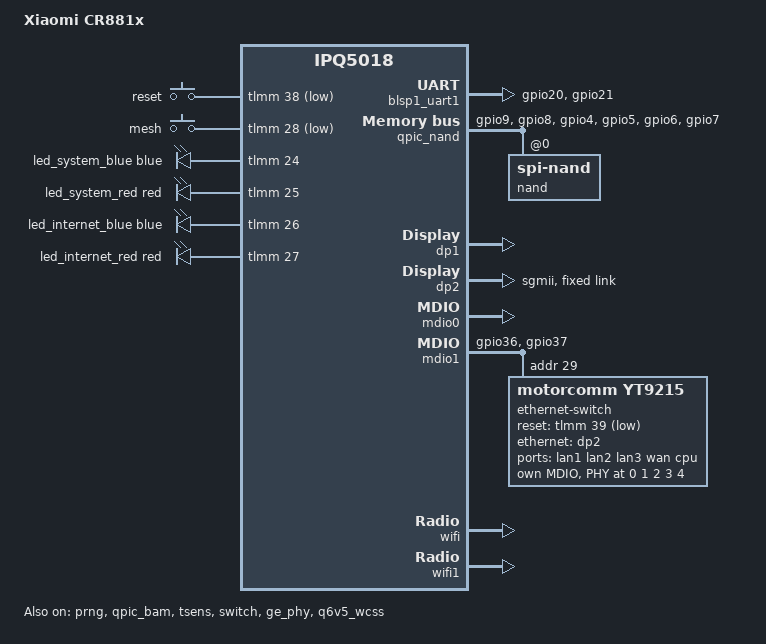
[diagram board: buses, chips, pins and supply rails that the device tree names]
// SPDX-License-Identifier: (GPL-2.0+)
/*
 * Xiaomi CR881x series (CR8816 / CR8818 / CR8819 - carrier-custom siblings
 * of the Redmi AX3000 family; NOT flashable with CR880X images!)
 *
 * Hardware:
 *   - IPQ5018 (2x Cortex-A53) with internal GE PHY + 2.4G WiFi
 *   - Motorcomm YT9215 switch: LAN1-3 + WAN on PHY0-3, CPU port 8 via
 *     SGMII to MAC1; external MDIO (mdio1) address 0x1d, reset GPIO 39
 *   - QCN6122 5G WiFi (PCIE1, reset GPIO 18)
 *   - SPI NAND 128MB, 256MB RAM
 *
 * Same IPQ5018 SoC as the CR880X but a completely different switch
 * (Motorcomm YT9215 DSA vs Qualcomm QCA8337 DSA): a CR880X image boots
 * on a CR881x but no ethernet port ever comes up - the board wiring is
 * incompatible (CR880X: dual conduit via QCA8337 SGMII + PHY-to-PHY;
 * CR881x: single conduit, CPU port 8 only).
 *
 * Structure follows zcop/immortalwrt openwrt-25.12 ipq5018-cr881x.dts
 * (field-verified by the community), reworked to this tree's proven
 * 25.12 conventions:
 *   - qcom,smem-part partitioning: the 6.12 kernel parses Xiaomi SMEM
 *     names lower-case ("0:art", "0:appsblenv"...), matching the
 *     caldata / uboot-envtools scripts (verified on CR8806)
 *   - explicit board clocks: sleep_clk 32000 + xo_board_clk div 4 -
 *     without them the clock chain breaks, the watchdog loses its
 *     input clock and cpufreq-dt fails to register (seen on CR8806,
 *     kernel 6.12.108)
 *   - 25.12-style LED function/color naming
 */

/dts-v1/;

#include "ipq5018.dtsi"
#include "ipq5018-ess.dtsi"
#include "ipq5018-qcn6122.dtsi"

#include <dt-bindings/net/qcom-ipq-ess.h>
#include <dt-bindings/gpio/gpio.h>
#include <dt-bindings/input/input.h>
#include <dt-bindings/leds/common.h>

/ {
	model = "Xiaomi CR881x";
	compatible = "xiaomi,cr881x", "qcom,ipq5018";

	aliases {
		label-mac-device = &dp1;
		serial0 = &blsp1_uart1;

		ethernet0 = &dp1;
		ethernet1 = &dp2;

		led-boot = &led_system_blue;
		led-failsafe = &led_system_red;
		led-running = &led_system_blue;
		led-upgrade = &led_system_red;
	};

	chosen {
		/* Override the root parameter from u-boot;
		 * increase coherent_pool size for WiFi */
		bootargs-append = " root=/dev/ubiblock0_1 coherent_pool=2M";
		stdout-path = "serial0:115200n8";
	};

	keys {
		compatible = "gpio-keys";
		pinctrl-0 = <&button_pins>;
		pinctrl-names = "default";

		button-0 {
			label = "reset";
			gpios = <&tlmm 38 GPIO_ACTIVE_LOW>;
			linux,code = <KEY_RESTART>;
			debounce-interval = <60>;
		};

		button-1 {
			label = "mesh";
			gpios = <&tlmm 28 GPIO_ACTIVE_LOW>;
			linux,code = <KEY_WPS_BUTTON>;
			debounce-interval = <60>;
		};
	};

	leds {
		compatible = "gpio-leds";
		pinctrl-0 = <&led_pins>;
		pinctrl-names = "default";

		/* Standard LED roles and GPIO assignments. A blink-signature sweep
		 * found no physical lamp on gpio24 of the deployed CR8816, but that
		 * must not change the color semantics or move system to the red LED.
		 * If the blue system lamp is absent, its position simply stays dark. */
		led_system_blue: led-0 {
			gpios = <&tlmm 24 GPIO_ACTIVE_HIGH>;
			color = <LED_COLOR_ID_BLUE>;
			function = LED_FUNCTION_STATUS;
			default-state = "on";
		};

		led_system_red: led-1 {
			gpios = <&tlmm 25 GPIO_ACTIVE_HIGH>;
			color = <LED_COLOR_ID_RED>;
			function = LED_FUNCTION_STATUS;
		};

		led_internet_blue: led-2 {
			gpios = <&tlmm 26 GPIO_ACTIVE_HIGH>;
			color = <LED_COLOR_ID_BLUE>;
			function = LED_FUNCTION_WAN;
			default-state = "on";
		};

		led_internet_red: led-3 {
			gpios = <&tlmm 27 GPIO_ACTIVE_HIGH>;
			color = <LED_COLOR_ID_RED>;
			function = LED_FUNCTION_WAN;
		};
	};
};

&blsp1_uart1 {
	pinctrl-0 = <&serial_0_pins>;
	pinctrl-names = "default";
	status = "okay";
};

&prng {
	status = "okay";
};

&qpic_bam {
	status = "okay";
};

&qpic_nand {
	pinctrl-0 = <&qpic_pins>;
	pinctrl-names = "default";
	status = "okay";

	nand@0 {
		compatible = "spi-nand";
		reg = <0>;

		nand-ecc-engine = <&qpic_nand>;
		/* NO nand-ecc-strength override here - unlike the CR8806! The
		 * CR881x GigaDevice NAND requires 8-bit ECC (NAND_ECCREQ(8,512)
		 * in the kernel chip table) and the stock Xiaomi flasher writes
		 * an 8-bit ECC layout. Copying the CR8806 strength=4 made the
		 * kernel decode every PEB with the wrong layout: ubi attach of
		 * rootfs_1 failed with error -74 on all 240 PEBs while U-boot
		 * read the very same image clean. Let the driver follow the
		 * chip's own requirements - same as the field-verified zcop DTS. */
		nand-bus-width = <8>;

		partitions {
			compatible = "qcom,smem-part";
		};
	};
};

&tsens {
	status = "okay";
};

/*
 * ===================================================================
 *     _______________________         _______________________
 *    |        IPQ5018        |       |        YT9215        |
 *    | +------+  +--------+ |       | +------+   +------+  |
 *    | | MAC0 |--| GE Phy |-+--UTP--+-| Phy4 |---| MAC4 |  |
 *    | +------+  +--------+ |       | +------+   +------+  |
 *    | +------+  +--------+ |       | (PHY-to-PHY, unused   |
 *    | | MAC1 |--| Uniphy |-+-SGMII-+-| by DSA; MAC8 = CPU) |
 *    | +------+  +--------+ |       |_______________________|
 *    |_______________________|        external mdio1 @ 0x1d
 *
 * LAN1/LAN2/LAN3 = YT9215 PHY0/1/2, WAN = PHY3. All user traffic is
 * switched through MAC8 -> SGMII -> MAC1 (dp2/eth1, single conduit).
 * ===================================================================
 */

&switch {
	status = "okay";

	/* MAC0 -> GE PHY (PHY-to-PHY link to YT9215 PHY4)
	 * MAC1 -> SGMII channel 0 -> YT9215 CPU port 8
	 *
	 * TODO: the YT9215 supports 2500base-x over the SGMII+ link
	 * (MAC_MODE_SGMII_PLUS; hzyitc 5.15 runs it at 2500, matching the
	 * stock firmware DT). Kept at 1 GbE to match the field-verified
	 * zcop configuration for first bring-up. */
	switch_mac_mode = <MAC_MODE_SGMII_CHANNEL0>;
	switch_mac_mode1 = <MAC_MODE_DISABLED>;
	switch_mac_mode2 = <MAC_MODE_DISABLED>;

	/* ESS port bitmaps (match MAC0/MAC1 usage in qcom,port_phyinfo;
	 * single conduit DSA on dp2 - zcop verified) */
	switch_cpu_bmp = <ESS_PORT0>;
	switch_wan_bmp = <ESS_PORT1>;
	switch_lan_bmp = <ESS_PORT2>;
	switch_inner_bmp = <ESS_PORT7>;

	qcom,port_phyinfo {
		// MAC0 -> GE Phy --- YT9215 Phy4 (PHY-to-PHY)
		port@0 {
			port_id = <1>;
			mdiobus = <&mdio0>;
			phy_address = <7>;
			phy_dac = <0x10 0x10>;
		};

		// MAC1 -> Uniphy --- SGMII --- YT9215 Phy8
		port@1 {
			port_id = <2>;
			forced-speed = <1000>;
			forced-duplex = <1>;
		};
	};
};

// MAC0 -> GE PHY (PHY-to-PHY link to YT9215 PHY4; not used by DSA)
&dp1 {
	status = "okay";
};

// MAC1 ---SGMII---> YT9215 CPU port (single DSA conduit: eth1)
&dp2 {
	status = "okay";
	phy-mode = "sgmii";

	fixed-link {
		speed = <1000>;
		full-duplex;
		pause;
		asym-pause;
	};
};

&mdio0 {
	status = "okay";
};

// IPQ5018 GE Phy -> YT9215 Phy4
&ge_phy {
	status = "okay";
	qcom,dac-preset-short-cable;
};

&mdio1 {
	pinctrl-0 = <&mdio1_pins>;
	pinctrl-names = "default";
	status = "okay";

	// Motorcomm YT9215 switch
	ethernet-switch@1d {
		compatible = "motorcomm,yt9215";
		reg = <0x1d>;

		reset-gpios = <&tlmm 39 GPIO_ACTIVE_LOW>;
		reset-assert-us = <10000>; /* 10 ms */
		reset-deassert-us = <50000>; /* 50 ms */

		mdio {
			#address-cells = <1>;
			#size-cells = <0>;

			sw_phy0: phy@0 {
				reg = <0>;
			};

			sw_phy1: phy@1 {
				reg = <1>;
			};

			sw_phy2: phy@2 {
				reg = <2>;
			};

			sw_phy3: phy@3 {
				reg = <3>;
			};

			sw_phy4: phy@4 {
				reg = <4>;
			};
		};

		ports {
			#address-cells = <1>;
			#size-cells = <0>;

			// MAC0 -> Phy0 -> LAN1
			port@0 {
				reg = <0>;
				label = "lan1";
				phy-mode = "internal";
				phy-handle = <&sw_phy0>;
			};

			// MAC1 -> Phy1 -> LAN2
			port@1 {
				reg = <1>;
				label = "lan2";
				phy-mode = "internal";
				phy-handle = <&sw_phy1>;
			};

			// MAC2 -> Phy2 -> LAN3
			port@2 {
				reg = <2>;
				label = "lan3";
				phy-mode = "internal";
				phy-handle = <&sw_phy2>;
			};

			// MAC3 -> Phy3 -> WAN
			port@3 {
				reg = <3>;
				label = "wan";
				phy-mode = "internal";
				phy-handle = <&sw_phy3>;
			};

			// MAC4 -> Phy4 -> IPQ5018 GE Phy
			// (PHY-to-PHY link, unused by DSA; keeps PHY4 managed)
			port@4 {
				reg = <4>;
				label = "cpu";
				phy-mode = "internal";
				phy-handle = <&sw_phy4>;
			};

			// MAC8 ---SGMII---> IPQ5018 MAC1 (CPU: eth1)
			port@8 {
				reg = <8>;
				phy-mode = "sgmii";
				ethernet = <&dp2>;

				fixed-link {
					speed = <1000>;
					full-duplex;
					pause;
					asym-pause;
				};
			};
		};
	};
};

&tlmm {
	serial_0_pins: serial-0-state {
		pins = "gpio20", "gpio21";
		function = "blsp0_uart0";
		drive-strength = <8>;
		bias-disable;
	};

	qpic_pins: qpic-state {
		clock-pins {
			pins = "gpio9";
			function = "qspi_clk";
			drive-strength = <8>;
			bias-disable;
		};

		cs-pins {
			pins = "gpio8";
			function = "qspi_cs";
			drive-strength = <8>;
			bias-disable;
		};

		data-pins {
			pins = "gpio4", "gpio5", "gpio6", "gpio7";
			function = "qspi_data";
			drive-strength = <8>;
			bias-disable;
		};
	};

	mdio1_pins: mdio1-state {
		mdc-pins {
			pins = "gpio36";
			function = "mdc";
			drive-strength = <8>;
			bias-pull-up;
		};

		mdio-pins {
			pins = "gpio37";
			function = "mdio";
			drive-strength = <8>;
			bias-pull-up;
		};
	};

	led_pins: led-state {
		pins = "gpio24", "gpio25", "gpio26", "gpio27";
		function = "gpio";
		drive-strength = <8>;
		bias-pull-down;
	};

	button_pins: button-state {
		pins = "gpio28", "gpio38";
		function = "gpio";
		drive-strength = <8>;
		bias-pull-up;
	};
};

&q6v5_wcss {
	status = "okay";

	memory-region = <&q6_region>;
	firmware-name = "ath11k/IPQ5018/hw1.0/q6_fw.mdt",
			"ath11k/IPQ5018/hw1.0/m3_fw.mdt",
			"ath11k/QCN6122/hw1.0/m3_fw.mdt";

	/* The QCN6122 radio should map to UPD ID 2 */
	boot-args = <
		/*       type: */	0x2	/* PCIE1 */
		/*     length: */	4
		/*     UPD ID: */	2
		/* reset GPIO: */	18
		/*   reserved: */	0 0>;
};

/* Board clock frequencies — the dtsi only declares the fixed/factor clocks.
 * Without these the whole clock chain breaks: watchdog loses its input
 * clock and cpufreq-dt fails to register (seen on-device, 6.12.108).
 * Same values as upstream ipq5018-gl-b3000. */
&sleep_clk {
	clock-frequency = <32000>;
};

&xo_board_clk {
	clock-div = <4>;
	clock-mult = <1>;
};

&wifi {
	// IPQ5018 2.4G
	status = "okay";

	qcom,rproc = <&q6_wcss_pd1>;

	// Static board id 0x23 - matched by the static BDF shipped in
	// ipq-wifi-xiaomi_cr881x (unlike CR880X, no per-unit board-id
	// hotplug override is needed: qmi-board-id=35 hits the BDF entry).
	qcom,board_id = <0x23>;
	qcom,ath11k-calibration-variant = "Xiaomi-CR8818";

	qcom,ath11k-fw-memory-mode = <1>;
	qcom,bdf-addr = <0x4c400000>;
};

&wifi1 {
	// QCN6122 5G
	status = "okay";

	qcom,rproc = <&q6_wcss_pd2>;
	qcom,userpd-subsys-name = "q6v5_wcss_userpd2";

	// Static board id 0x60 - matched by the static BDF shipped in
	// ipq-wifi-xiaomi_cr881x (qmi-board-id=96); the per-unit RF
	// calibration still comes from ART via 11-ath11k-caldata, and
	// 12-ath11k-qcn6122-bdf is a no-op here (static board-2.bin
	// exists, its first check short-circuits).
	qcom,board_id = <0x60>;
	qcom,ath11k-calibration-variant = "Xiaomi-CR8818";

	qcom,ath11k-fw-memory-mode = <1>;
	qcom,bdf-addr = <0x4d100000>;
	qcom,m3-dump-addr = <0x4df00000>;
};
